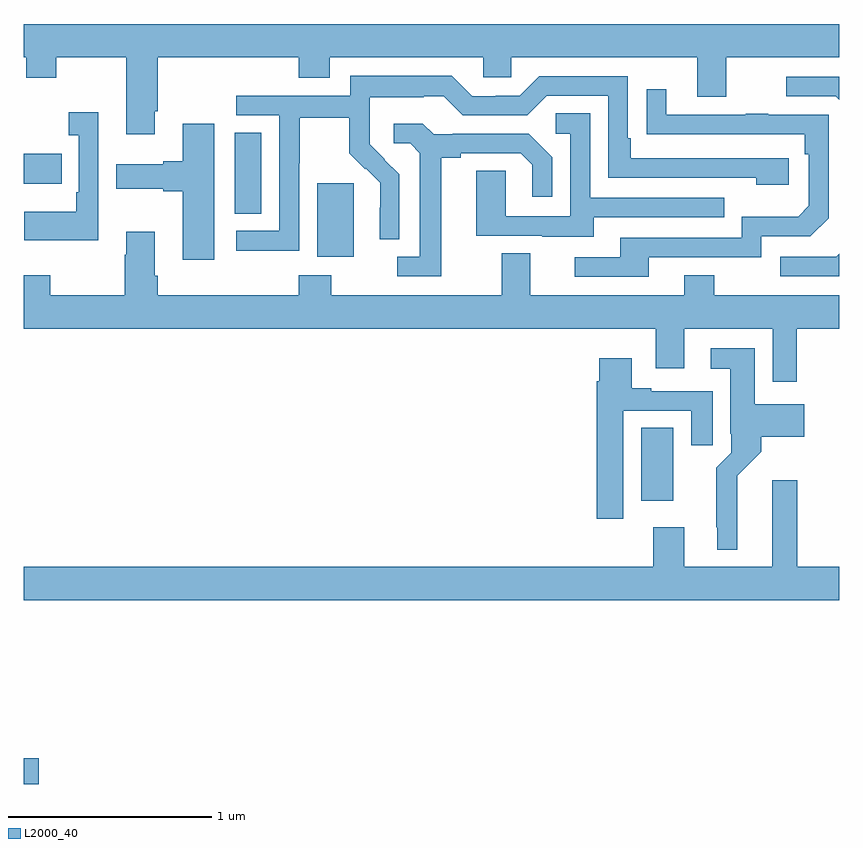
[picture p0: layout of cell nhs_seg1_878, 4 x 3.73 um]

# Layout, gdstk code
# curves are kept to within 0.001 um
import gdstk
lib = gdstk.Library(unit=1e-6, precision=1e-09)
def R(c, l, rs):  # rectangles x0, y0, x1, y1
    for r in rs: c.add(gdstk.rectangle(r[:2], r[2:], *l))
def P(c, l, *ps):  # polygons
    for p in ps: c.add(gdstk.Polygon(p, *l))
L2000_40 = (2000, 40)

nhs_seg1_878 = lib.new_cell('nhs_seg1_878')
R(nhs_seg1_878, L2000_40, [(159,516.199,159.073,516.326), (162.029,517.59,162.187,517.946), (160.439,518.786,160.618,519.147), (160.034,518.998,160.165,519.395), (159,519.143,159.185,519.291)])
P(nhs_seg1_878, L2000_40, [(159.643,519.499),(159.656,519.499),(159.656,519.764),(160.349,519.764),(160.349,519.665),(160.501,519.665),(160.501,519.764),(161.253,519.764),(161.253,519.666),(161.391,519.666),(161.391,519.764),(162.305,519.764),(162.305,519.57),(162.445,519.57),(162.445,519.764),(163,519.764),(163,519.928),(159,519.928),(159,519.764),(159.011,519.764),(159.011,519.665),(159.159,519.665),(159.159,519.764),(159.503,519.764),(159.503,519.387),(159.643,519.387)],
  [(160.35,519.244),(160.353,519.244),(160.353,519.468),(160.597,519.468),(160.597,519.293),(160.674,519.216),(160.677,519.219),(160.748,519.149),(160.748,519.026),(160.746,519.026),(160.746,518.872),(160.842,518.872),(160.842,519.19),(160.696,519.338),(160.696,519.435),(160.698,519.435),(160.698,519.569),(160.961,519.569),(160.961,519.573),(161.061,519.573),(161.154,519.48),(161.469,519.48),(161.565,519.576),(161.868,519.576),(161.868,519.174),(162.593,519.174),(162.593,519.14),(162.754,519.14),(162.754,519.27),(161.977,519.27),(161.977,519.367),(161.964,519.367),(161.964,519.672),(161.529,519.672),(161.433,519.576),(161.315,519.576),(161.315,519.573),(161.199,519.573),(161.099,519.673),(160.602,519.673),(160.602,519.576),(160.041,519.576),(160.041,519.48),(160.254,519.48),(160.254,518.913),(160.041,518.913),(160.041,518.815),(160.35,518.815)],
  [(163,519.669),(162.741,519.669),(162.741,519.573),(162.984,519.573),(163,519.557)],
  [(162.067,518.784),(162.618,518.784),(162.618,518.886),(162.858,518.886),(162.948,518.976),(162.948,519.483),(162.653,519.483),(162.653,519.488),(162.541,519.488),(162.541,519.483),(162.151,519.483),(162.151,519.607),(162.055,519.607),(162.055,519.388),(162.832,519.387),(162.832,519.29),(162.852,519.29),(162.852,519.036),(162.799,518.983),(162.522,518.983),(162.522,518.88),(161.927,518.88),(161.927,518.784),(161.703,518.784),(161.703,518.688),(162.067,518.688)],
  [(159.366,519.496),(159.219,519.496),(159.219,519.383),(159.27,519.383),(159.27,519.103),(159.258,519.103),(159.258,519.007),(159.001,519.007),(159.001,518.867),(159.366,518.867)],
  [(161.797,518.979),(162.437,518.979),(162.437,519.075),(161.778,519.075),(161.778,519.491),(161.61,519.491),(161.61,519.39),(161.682,519.39),(161.682,518.985),(161.364,518.985),(161.364,519.209),(161.219,519.209),(161.219,518.889),(161.543,518.889),(161.543,518.885),(161.797,518.885)],
  [(159.934,519.439),(159.779,519.439),(159.779,519.254),(159.683,519.254),(159.683,519.241),(159.453,519.241),(159.453,519.119),(159.683,519.119),(159.683,519.107),(159.779,519.107),(159.779,518.772),(159.934,518.772)],
  [(161.047,519.272),(161.143,519.272),(161.143,519.294),(161.438,519.294),(161.495,519.237),(161.495,519.081),(161.592,519.081),(161.592,519.274),(161.476,519.39),(161.104,519.39),(161.104,519.387),(161.01,519.387),(160.958,519.439),(160.815,519.439),(160.815,519.342),(160.896,519.342),(160.943,519.295),(160.943,518.787),(160.833,518.787),(160.833,518.691),(161.047,518.691)],
  [(162.791,518.432),(163,518.432),(163,518.596),(162.387,518.596),(162.387,518.695),(162.239,518.695),(162.239,518.596),(161.485,518.596),(161.485,518.804),(161.345,518.804),(161.345,518.596),(160.509,518.596),(160.509,518.695),(160.349,518.695),(160.349,518.596),(159.656,518.596),(159.656,518.692),(159.643,518.692),(159.643,518.908),(159.503,518.908),(159.503,518.795),(159.496,518.795),(159.496,518.596),(159.129,518.596),(159.129,518.695),(159,518.695),(159,518.432),(162.101,518.432),(162.101,518.238),(162.241,518.238),(162.241,518.432),(162.675,518.432),(162.675,518.172),(162.791,518.172)],
  [(163,518.8),(162.987,518.787),(162.711,518.787),(162.711,518.691),(163,518.691)],
  [(162.499,517.712),(162.617,517.83),(162.617,517.904),(162.829,517.904),(162.829,518.062),(162.586,518.062),(162.586,518.338),(162.369,518.338),(162.369,518.237),(162.467,518.237),(162.467,517.918),(162.471,517.918),(162.471,517.824),(162.398,517.751),(162.398,517.459),(162.401,517.459),(162.401,517.349),(162.499,517.349)],
  [(161.941,518.031),(162.275,518.031),(162.275,517.86),(162.379,517.86),(162.379,518.127),(162.079,518.127),(162.079,518.14),(161.983,518.14),(161.983,518.287),(161.822,518.287),(161.822,518.174),(161.81,518.174),(161.81,517.5),(161.941,517.5)],
  [(163,517.264),(162.794,517.264),(162.794,517.69),(162.671,517.69),(162.671,517.264),(162.241,517.264),(162.241,517.459),(162.089,517.459),(162.089,517.264),(159,517.264),(159,517.1),(163,517.1)])

lib.write_gds('nhs_seg1_878.gds')
